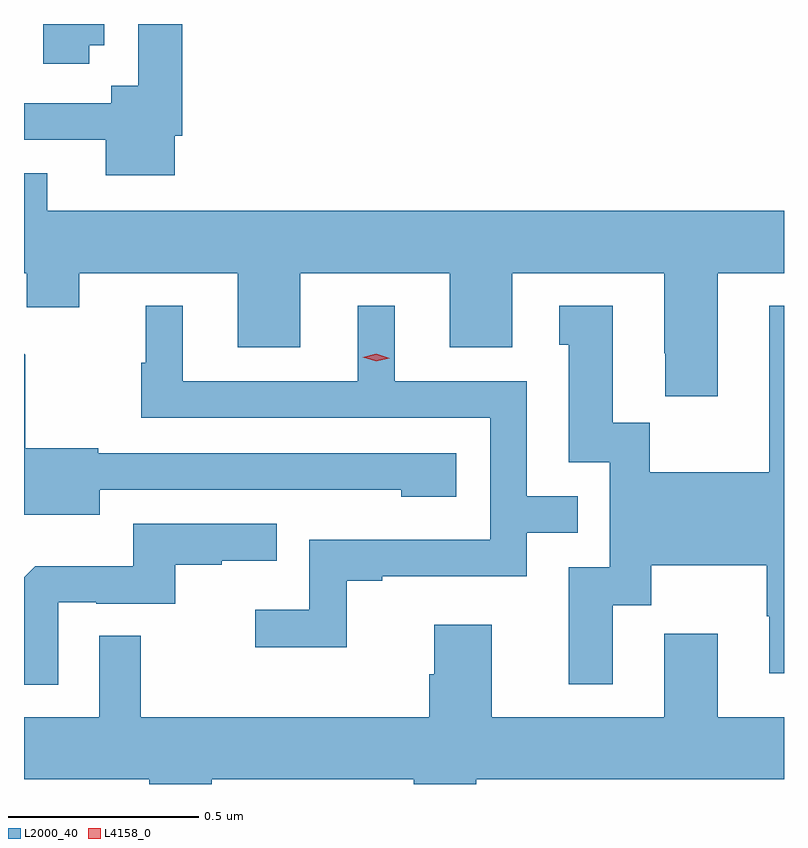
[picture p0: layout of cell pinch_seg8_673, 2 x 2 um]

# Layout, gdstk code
import gdstk
lib = gdstk.Library(unit=1e-6, precision=1e-09)
def P(c, l, *ps):  # polygons
    for p in ps: c.add(gdstk.Polygon(p, *l))
L2000_40 = (2000, 40)
L4158_0 = (4158, 0)

pinch_seg8_673 = lib.new_cell('pinch_seg8_673')
P(pinch_seg8_673, L2000_40, [(350.41,1087.796),(350.449,1087.796),(350.449,1087.852),(350.288,1087.852),(350.288,1087.747),(350.41,1087.747)],
  [(350.635,1087.558),(350.654,1087.558),(350.654,1087.852),(350.538,1087.852),(350.538,1087.69),(350.468,1087.69),(350.468,1087.644),(350.238,1087.644),(350.238,1087.548),(350.453,1087.548),(350.453,1087.454),(350.635,1087.454)],
  [(352.063,1087.196),(352.238,1087.196),(352.238,1087.36),(350.299,1087.36),(350.299,1087.459),(350.238,1087.459),(350.238,1087.196),(350.245,1087.196),(350.245,1087.106),(350.383,1087.106),(350.383,1087.196),(350.801,1087.196),(350.801,1087.002),(350.965,1087.002),(350.965,1087.196),(351.359,1087.196),(351.359,1087.002),(351.523,1087.002),(351.523,1087.196),(351.923,1087.196),(351.923,1086.985),(351.926,1086.985),(351.926,1086.873),(352.063,1086.873)],
  [(351.787,1086.322),(351.889,1086.322),(351.889,1086.428),(352.192,1086.428),(352.192,1086.294),(352.199,1086.294),(352.199,1086.144),(352.238,1086.144),(352.238,1087.111),(352.199,1087.111),(352.199,1086.673),(351.885,1086.673),(351.885,1086.803),(351.787,1086.803),(351.787,1087.111),(351.647,1087.111),(351.647,1087.008),(351.671,1087.008),(351.671,1086.699),(351.78,1086.699),(351.78,1086.423),(351.671,1086.423),(351.671,1086.114),(351.787,1086.114)],
  [(351.087,1086.387),(351.181,1086.387),(351.181,1086.399),(351.561,1086.399),(351.561,1086.513),(351.695,1086.513),(351.695,1086.609),(351.561,1086.609),(351.561,1086.912),(351.214,1086.912),(351.214,1087.111),(351.116,1087.111),(351.116,1086.912),(350.656,1086.912),(350.656,1087.111),(350.558,1087.111),(350.558,1086.96),(350.547,1086.96),(350.547,1086.816),(351.465,1086.816),(351.465,1086.495),(350.988,1086.495),(350.988,1086.31),(350.847,1086.31),(350.847,1086.212),(351.087,1086.212)],
  [(350.437,1086.627),(350.995,1086.627),(350.995,1086.626),(351.231,1086.626),(351.231,1086.608),(351.376,1086.608),(351.376,1086.723),(350.433,1086.723),(350.433,1086.736),(350.241,1086.736),(350.241,1086.981),(350.238,1086.984),(350.238,1086.56),(350.437,1086.56)],
  [(350.328,1086.33),(350.428,1086.33),(350.428,1086.327),(350.636,1086.327),(350.636,1086.429),(350.759,1086.429),(350.759,1086.44),(350.903,1086.44),(350.903,1086.537),(350.526,1086.537),(350.526,1086.425),(350.267,1086.425),(350.238,1086.396),(350.238,1086.113),(350.328,1086.113)],
  [(350.732,1085.864),(351.263,1085.864),(351.263,1085.852),(351.428,1085.852),(351.428,1085.864),(352.238,1085.864),(352.238,1086.028),(352.063,1086.028),(352.063,1086.247),(351.923,1086.247),(351.923,1086.028),(351.469,1086.028),(351.469,1086.271),(351.317,1086.271),(351.317,1086.141),(351.305,1086.141),(351.305,1086.028),(350.545,1086.028),(350.545,1086.242),(350.436,1086.242),(350.436,1086.028),(350.238,1086.028),(350.238,1085.864),(350.567,1085.864),(350.567,1085.852),(350.732,1085.852)])
P(pinch_seg8_673, L4158_0, [(351.165,1086.964),(351.13,1086.975),(351.129,1086.975),(351.13,1086.975),(351.165,1086.984),(351.2,1086.973),(351.201,1086.973),(351.2,1086.973)])

lib.write_gds('pinch_seg8_673.gds')
